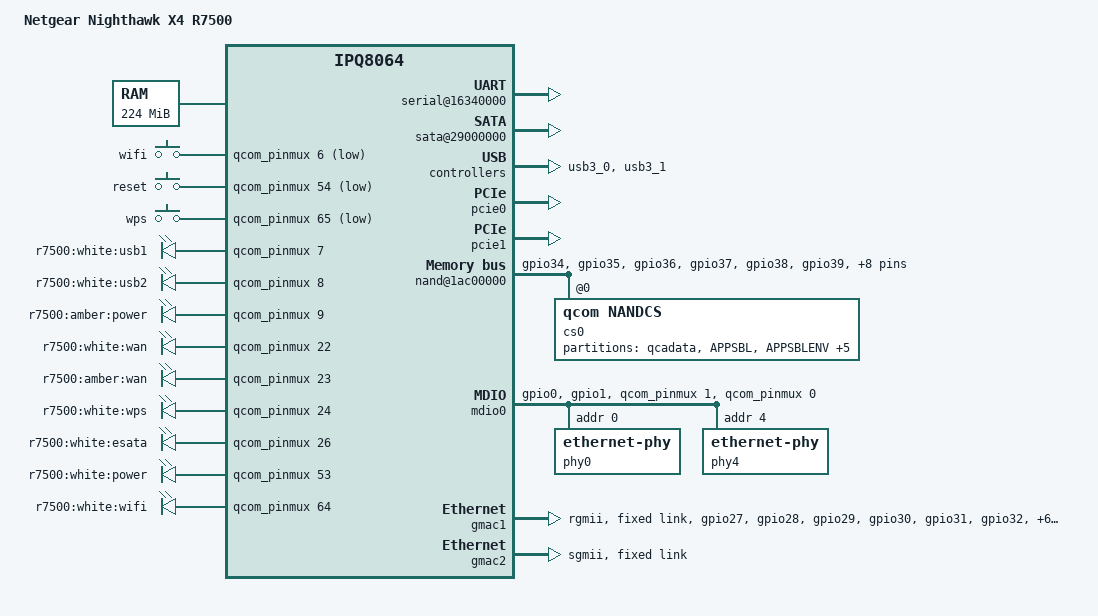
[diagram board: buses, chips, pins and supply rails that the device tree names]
#include "qcom-ipq8064-v1.0.dtsi"

#include <dt-bindings/input/input.h>
#include <dt-bindings/soc/qcom,tcsr.h>

/ {
	model = "Netgear Nighthawk X4 R7500";
	compatible = "netgear,r7500", "qcom,ipq8064";

	memory@0 {
		reg = <0x42000000 0xe000000>;
		device_type = "memory";
	};

	reserved-memory {
		#address-cells = <1>;
		#size-cells = <1>;
		ranges;
		rsvd@41200000 {
			reg = <0x41200000 0x300000>;
			no-map;
		};
	};

	aliases {
		serial0 = &gsbi4_serial;
		mdio-gpio0 = &mdio0;

		led-boot = &power_white;
		led-failsafe = &power_amber;
		led-running = &power_white;
		led-upgrade = &power_amber;
	};

	chosen {
		bootargs = "rootfstype=squashfs noinitrd";
		stdout-path = "serial0:115200n8";
	};

	soc {
		pinmux@800000 {
			button_pins: button_pins {
				mux {
					pins = "gpio6", "gpio54", "gpio65";
					function = "gpio";
					drive-strength = <2>;
					bias-pull-up;
				};
			};

			i2c4_pins: i2c4_pinmux {
				mux {
					pins = "gpio12", "gpio13";
					function = "gsbi4";
					drive-strength = <12>;
					bias-disable;
				};
			};

			led_pins: led_pins {
				mux {
					pins = "gpio7", "gpio8", "gpio9", "gpio22", "gpio23",
						"gpio24","gpio26", "gpio53", "gpio64";
					function = "gpio";
					drive-strength = <2>;
					bias-pull-up;
				};
			};

			mdio0_pins: mdio0_pins {
				mux {
					pins = "gpio0", "gpio1";
					function = "gpio";
					drive-strength = <8>;
					bias-disable;
				};
			};

			nand_pins: nand_pins {
				disable {
					pins = "gpio34", "gpio35", "gpio36",
					       "gpio37", "gpio38";
					function = "nand";
					drive-strength = <10>;
					bias-disable;
				};

				pullups {
					pins = "gpio39";
					function = "nand";
					drive-strength = <10>;
					bias-pull-up;
				};

				hold {
					pins = "gpio40", "gpio41", "gpio42",
					       "gpio43", "gpio44", "gpio45",
					       "gpio46", "gpio47";
					function = "nand";
					drive-strength = <10>;
					bias-bus-hold;
				};
			};

			rgmii2_pins: rgmii2_pins {
				mux {
					pins = "gpio27", "gpio28", "gpio29", "gpio30", "gpio31", "gpio32",
					       "gpio51", "gpio52", "gpio59", "gpio60", "gpio61", "gpio62" ;
					function = "rgmii2";
					drive-strength = <8>;
					bias-disable;
				};
			};
		};

		gsbi@16300000 {
			qcom,mode = <GSBI_PROT_I2C_UART>;
			status = "okay";
			serial@16340000 {
				status = "okay";
			};
			/*
			 * The i2c device on gsbi4 should not be enabled.
			 * On ipq806x designs gsbi4 i2c is meant for exclusive
			 * RPM usage. Turning this on in kernel manifests as
			 * i2c failure for the RPM.
			 */
		};

		sata-phy@1b400000 {
			status = "okay";
		};

		sata@29000000 {
			status = "okay";
		};

		usb3_0: usb3@110f8800 {
			clocks = <&gcc USB30_1_MASTER_CLK>;
			status = "okay";
		};

		usb3_1: usb3@100f8800 {
			clocks = <&gcc USB30_0_MASTER_CLK>;
			status = "okay";
		};

		pcie0: pci@1b500000 {
			status = "okay";
		};

		pcie1: pci@1b700000 {
			status = "okay";
			force_gen1 = <1>;
		};

		nand@1ac00000 {
			status = "okay";

			pinctrl-0 = <&nand_pins>;
			pinctrl-names = "default";

			cs0 {
				reg = <0>;
				compatible = "qcom,nandcs";

				nand-ecc-strength = <4>;
				nand-bus-width = <8>;
				nand-ecc-step-size = <512>;

				partitions {
					compatible = "fixed-partitions";
					#address-cells = <1>;
					#size-cells = <1>;

					qcadata@0 {
						label = "qcadata";
						reg = <0x0000000 0x0c80000>;
						read-only;
					};

					APPSBL@c80000 {
						label = "APPSBL";
						reg = <0x0c80000 0x0500000>;
						read-only;
					};

					APPSBLENV@1180000 {
						label = "APPSBLENV";
						reg = <0x1180000 0x0080000>;
						read-only;
					};

					art: art@1200000 {
						label = "art";
						reg = <0x1200000 0x0140000>;
						read-only;
					};

					kernel@1340000 {
						label = "kernel";
						reg = <0x1340000 0x0400000>;
					};

					ubi@1740000 {
						label = "ubi";
						reg = <0x1740000 0x1600000>;
					};

					netgear@2d40000 {
						label = "netgear";
						reg = <0x2d40000 0x0c00000>;
						read-only;
					};

					reserve@3940000 {
						label = "reserve";
						reg = <0x3940000 0x46c0000>;
						read-only;
					};
				};
			};
		};

		mdio0: mdio {
			compatible = "virtual,mdio-gpio";
			#address-cells = <1>;
			#size-cells = <0>;
			gpios = <&qcom_pinmux 1 GPIO_ACTIVE_HIGH>,
				<&qcom_pinmux 0 GPIO_ACTIVE_HIGH>;
			pinctrl-0 = <&mdio0_pins>;
			pinctrl-names = "default";

			phy0: ethernet-phy@0 {
				reg = <0>;
				qca,ar8327-initvals = <
					0x00004 0x7600000   /* PAD0_MODE */
					0x00008 0x1000000   /* PAD5_MODE */
					0x0000c 0x80        /* PAD6_MODE */
					0x000e4 0x6a545     /* MAC_POWER_SEL */
					0x000e0 0xc74164de  /* SGMII_CTRL */
					0x0007c 0x4e        /* PORT0_STATUS */
					0x00094 0x4e        /* PORT6_STATUS */
					>;
			};

			phy4: ethernet-phy@4 {
				reg = <4>;
			};
		};

		gmac1: ethernet@37200000 {
			status = "okay";
			phy-mode = "rgmii";
			qcom,id = <1>;

			pinctrl-0 = <&rgmii2_pins>;
			pinctrl-names = "default";

			mtd-mac-address = <&art 6>;

			fixed-link {
				speed = <1000>;
				full-duplex;
			};
		};

		gmac2: ethernet@37400000 {
			status = "okay";
			phy-mode = "sgmii";
			qcom,id = <2>;

			mtd-mac-address = <&art 0>;

			fixed-link {
				speed = <1000>;
				full-duplex;
			};
		};
	};

	keys {
		compatible = "gpio-keys";
		pinctrl-0 = <&button_pins>;
		pinctrl-names = "default";

		wifi {
			label = "wifi";
			gpios = <&qcom_pinmux 6 GPIO_ACTIVE_LOW>;
			linux,code = <KEY_RFKILL>;
		};

		reset {
			label = "reset";
			gpios = <&qcom_pinmux 54 GPIO_ACTIVE_LOW>;
			linux,code = <KEY_RESTART>;
		};

		wps {
			label = "wps";
			gpios = <&qcom_pinmux 65 GPIO_ACTIVE_LOW>;
			linux,code = <KEY_WPS_BUTTON>;
		};
	};

	leds {
		compatible = "gpio-leds";
		pinctrl-0 = <&led_pins>;
		pinctrl-names = "default";

		usb1 {
			label = "r7500:white:usb1";
			gpios = <&qcom_pinmux 7 GPIO_ACTIVE_HIGH>;
		};

		usb2 {
			label = "r7500:white:usb2";
			gpios = <&qcom_pinmux 8 GPIO_ACTIVE_HIGH>;
		};

		power_amber: power_amber {
			label = "r7500:amber:power";
			gpios = <&qcom_pinmux 9 GPIO_ACTIVE_HIGH>;
		};

		wan_white {
			label = "r7500:white:wan";
			gpios = <&qcom_pinmux 22 GPIO_ACTIVE_HIGH>;
		};

		wan_amber {
			label = "r7500:amber:wan";
			gpios = <&qcom_pinmux 23 GPIO_ACTIVE_HIGH>;
		};

		wps {
			label = "r7500:white:wps";
			gpios = <&qcom_pinmux 24 GPIO_ACTIVE_HIGH>;
		};

		esata {
			label = "r7500:white:esata";
			gpios = <&qcom_pinmux 26 GPIO_ACTIVE_HIGH>;
		};

		power_white: power_white {
			label = "r7500:white:power";
			gpios = <&qcom_pinmux 53 GPIO_ACTIVE_HIGH>;
			default-state = "keep";
		};

		wifi {
			label = "r7500:white:wifi";
			gpios = <&qcom_pinmux 64 GPIO_ACTIVE_HIGH>;
		};
	};
};

&tcsr {
	qcom,usb-ctrl-select = <TCSR_USB_SELECT_USB3_DUAL>;
	compatible = "qcom,tcsr";
};

&adm_dma {
	status = "okay";
};
